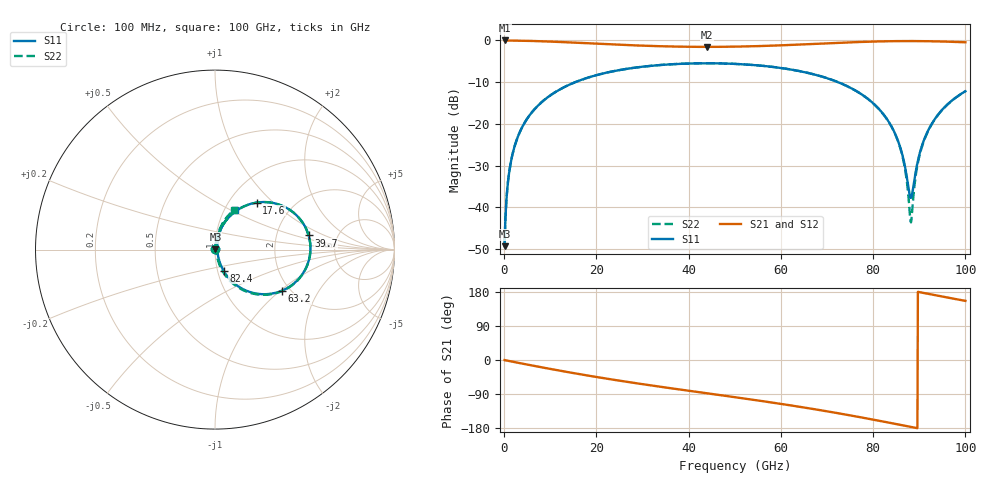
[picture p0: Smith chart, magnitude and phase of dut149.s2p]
! Touchstone file exported from HFSS 2026.1.0
!  File:  C:/ffzhzh/LocalFiles/Ansys_Project_Files/temp_train_RDL_149_1783499897_31944.aedt
!  Generated:  04:39:35 PM Jul  8, 2026
!  Design:  RDL
!  Project:  temp_train_RDL_149_1783499897_31944
! Variables:
!  h_bsmrdl = 2um
!  h_ox = 20um
!  h_rdl = 5um
!  h_sub = 80um
!  h_tmrdl = 4.76um
!  h_tsv = 80um
!  h_via = 3um
!  l_bsmrdl = 300um
!  l_sub = 1072.39um
!  l_tmrdl = 672.39um
!  m_sub = 200um
!  pitch = 53.1um
!  r_tsv = 6um
!  s_tmrdl = 10um
!  w_bsmrdl = 18um
!  w_sub = 500um
!  w_tmrdl = 24.45um
!  x_tsv_center1 = 684.615um
!  x_tsv_center2 = 1002.615um
!  x_tsv_center3 = 1699.455um
!  x_tsv_center4 = 2017.455um
!  x_tsv_center5 = 2714.295um
!  x_tsv_center6 = 3032.295um
# GHz S MA R 50.000000
! Terminal data exported
! Port[1] = TM_RDL1_1_T1
! Port[2] = TM_RDL1_1_T2
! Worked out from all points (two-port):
!   1000 points, 100 MHz to 100 GHz, reference 50 ohm
!   highest |S21| = -0.02 dB at 100 MHz (marker M1); lowest = -1.6 dB at 44 GHz (marker M2)
!   |S21| within 3 dB of the highest: start of sweep to end of sweep
!   lowest |S11| = -49.3 dB at 100 MHz (marker M3), VSWR 1.01, Z = 50.2 + j0.262 ohm
!   |S11| at or under -10 dB: start of sweep to 15.43 GHz; 72.39 GHz to end of sweep
!   |S22| runs from -49.3 to -5.5 dB; largest |S21 - S12| = 1.8e-14
!   S11 on the Smith chart (normalised r, x): 100 MHz: 1.00, +0.01; 17.6 GHz: 1.33, +0.80; 39.7 GHz: 3.07, +0.67; 63.2 GHz: 1.81, -1.03; 82.4 GHz: 1.07, -0.26; 100 GHz: 1.13, +0.52
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0.1  0.003443 49.3  0.9978 -0.3  0.9978 -0.3  0.003443 49.3
! Gamma 0 0 0 0
! Port Impedance 50 0 50 0
0.8  0.01953 79.7  0.997 -2.0  0.997 -2.0  0.01953 79.7
1.4  0.03365 81.3  0.9963 -3.4  0.9963 -3.4  0.03365 81.3
3.9  0.0913 77.5  0.9909 -9.4  0.9909 -9.4  0.09131 77.5
8.9  0.1977 66.7  0.9725 -21.1  0.9725 -21.1  0.1977 66.7
16.8  0.3378 50.1  0.9313 -38.3  0.9313 -38.3  0.3379 50.0
17.6  0.3498 48.5  0.9268 -39.9  0.9268 -39.9  0.3499 48.4
33.4  0.5048 19.2  0.8525 -69.8  0.8525 -69.8  0.5049 19.1
39.7  0.5276 8.6  0.8388 -80.6  0.8388 -80.6  0.5278 8.4
44  0.5319 1.5  0.8361 -87.9  0.8361 -87.9  0.5321 1.3
50.1  0.5227 -8.7  0.8416 -98.2  0.8416 -98.2  0.5229 -8.9
63.2  0.4375 -31.6  0.8868 -121.8  0.8868 -121.8  0.4377 -32.1
66.7  0.3977 -38.2  0.9044 -128.7  0.9044 -128.7  0.3979 -38.8
76.1  0.2521 -56.7  0.9522 -148.5  0.9522 -148.5  0.2522 -57.9
82.4  0.1268 -67.9  0.9747 -162.9  0.9747 -162.9  0.1267 -70.7
83.4  0.1056 -69.1  0.9769 -165.3  0.9769 -165.3  0.1053 -72.4
86.2  0.04552 -66.1  0.9807 -171.9  0.9807 -171.9  0.04445 -74.0
88.2  0.01301 5.5  0.9812 -176.6  0.9812 -176.6  0.006633 5.6
89.8  0.03831 69.1  0.9802 179.6  0.9802 179.6  0.03634 78.5
91.7  0.07876 75.0  0.9774 175.1  0.9774 175.1  0.07767 79.7
95.1  0.1505 71.7  0.9686 167.2  0.9686 167.2  0.1498 74.2
100  0.2461 62.7  0.9488 156.0  0.9488 156.0  0.2456 64.1
